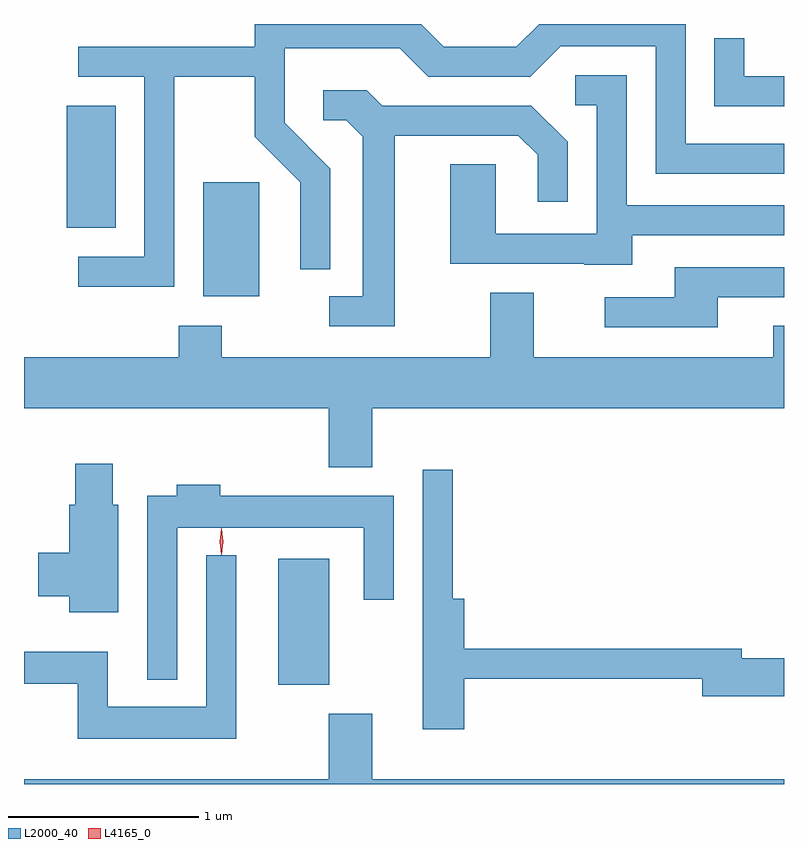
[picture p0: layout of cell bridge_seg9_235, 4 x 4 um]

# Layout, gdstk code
import gdstk
lib = gdstk.Library(unit=1e-6, precision=1e-09)
def R(c, l, rs):  # rectangles x0, y0, x1, y1
    for r in rs: c.add(gdstk.rectangle(r[:2], r[2:], *l))
def P(c, l, *ps):  # polygons
    for p in ps: c.add(gdstk.Polygon(p, *l))
L2000_40 = (2000, 40)
L4165_0 = (4165, 0)

bridge_seg9_235 = lib.new_cell('bridge_seg9_235')
R(bridge_seg9_235, L2000_40, [(1469.926,1945.961,1470.194,1946.624), (1469.531,1948.006,1469.824,1948.604), (1468.811,1948.366,1469.069,1949.009)])
P(bridge_seg9_235, L2000_40, [(1469.379,1949.161),(1469.801,1949.161),(1469.801,1948.844),(1470.041,1948.604),(1470.041,1948.148),(1470.199,1948.148),(1470.199,1948.677),(1469.959,1948.917),(1469.959,1949.311),(1470.564,1949.311),(1470.714,1949.161),(1471.252,1949.161),(1471.412,1949.321),(1471.911,1949.321),(1471.911,1948.651),(1472.587,1948.651),(1472.587,1948.809),(1472.069,1948.809),(1472.069,1949.438),(1471.298,1949.438),(1471.179,1949.319),(1470.797,1949.319),(1470.678,1949.438),(1469.801,1949.438),(1469.801,1949.319),(1468.873,1949.319),(1468.873,1949.161),(1469.221,1949.161),(1469.221,1948.214),(1468.873,1948.214),(1468.873,1948.056),(1469.379,1948.056)],
  [(1472.587,1949.164),(1472.379,1949.164),(1472.379,1949.363),(1472.221,1949.363),(1472.221,1949.006),(1472.587,1949.006)],
  [(1471.789,1948.326),(1472.587,1948.326),(1472.587,1948.484),(1471.759,1948.484),(1471.759,1949.169),(1471.488,1949.169),(1471.488,1949.011),(1471.601,1949.011),(1471.601,1948.334),(1471.069,1948.334),(1471.069,1948.699),(1470.831,1948.699),(1470.831,1948.176),(1471.535,1948.176),(1471.535,1948.171),(1471.789,1948.171)],
  [(1470.539,1948.851),(1471.189,1948.851),(1471.291,1948.749),(1471.291,1948.503),(1471.449,1948.503),(1471.449,1948.817),(1471.257,1949.009),(1470.472,1949.009),(1470.392,1949.089),(1470.163,1949.089),(1470.163,1948.931),(1470.284,1948.931),(1470.371,1948.844),(1470.371,1948.004),(1470.193,1948.004),(1470.193,1947.846),(1470.539,1947.846)],
  [(1472.239,1948.001),(1472.587,1948.001),(1472.587,1948.159),(1472.011,1948.159),(1472.011,1947.999),(1471.643,1947.999),(1471.643,1947.841),(1472.239,1947.841)],
  [(1470.419,1947.416),(1472.587,1947.416),(1472.587,1947.849),(1472.531,1947.849),(1472.531,1947.684),(1471.269,1947.684),(1471.269,1948.024),(1471.041,1948.024),(1471.041,1947.684),(1469.629,1947.684),(1469.629,1947.849),(1469.401,1947.849),(1469.401,1947.684),(1468.587,1947.684),(1468.587,1947.416),(1470.191,1947.416),(1470.191,1947.106),(1470.419,1947.106)],
  [(1469.084,1946.909),(1469.054,1946.909),(1469.054,1947.124),(1468.856,1947.124),(1468.856,1946.909),(1468.826,1946.909),(1468.826,1946.654),(1468.661,1946.654),(1468.661,1946.426),(1468.826,1946.426),(1468.826,1946.341),(1469.084,1946.341)],
  [(1470.904,1945.991),(1472.156,1945.991),(1472.156,1945.901),(1472.587,1945.901),(1472.587,1946.099),(1472.364,1946.099),(1472.364,1946.149),(1470.904,1946.149),(1470.904,1946.414),(1470.844,1946.414),(1470.844,1947.093),(1470.686,1947.093),(1470.686,1945.726),(1470.904,1945.726)],
  [(1469.394,1946.786),(1470.376,1946.786),(1470.376,1946.408),(1470.534,1946.408),(1470.534,1946.954),(1469.619,1946.954),(1469.619,1947.014),(1469.391,1947.014),(1469.391,1946.954),(1469.236,1946.954),(1469.236,1945.988),(1469.394,1945.988)],
  [(1469.704,1946.643),(1469.546,1946.643),(1469.546,1945.844),(1469.029,1945.844),(1469.029,1946.134),(1468.587,1946.134),(1468.587,1945.966),(1468.871,1945.966),(1468.871,1945.676),(1469.704,1945.676)],
  [(1472.587,1945.464),(1470.419,1945.464),(1470.419,1945.809),(1470.191,1945.809),(1470.191,1945.464),(1468.587,1945.464),(1468.587,1945.438),(1472.587,1945.438)])
P(bridge_seg9_235, L4165_0, [(1469.626,1946.644),(1469.626,1946.645),(1469.616,1946.714),(1469.626,1946.782),(1469.626,1946.783),(1469.627,1946.782),(1469.636,1946.714),(1469.627,1946.645)],
  [(1469.626,1946.648),(1469.626,1946.648),(1469.616,1946.714),(1469.626,1946.78),(1469.626,1946.781),(1469.627,1946.78),(1469.636,1946.714),(1469.627,1946.648)])

lib.write_gds('bridge_seg9_235.gds')
